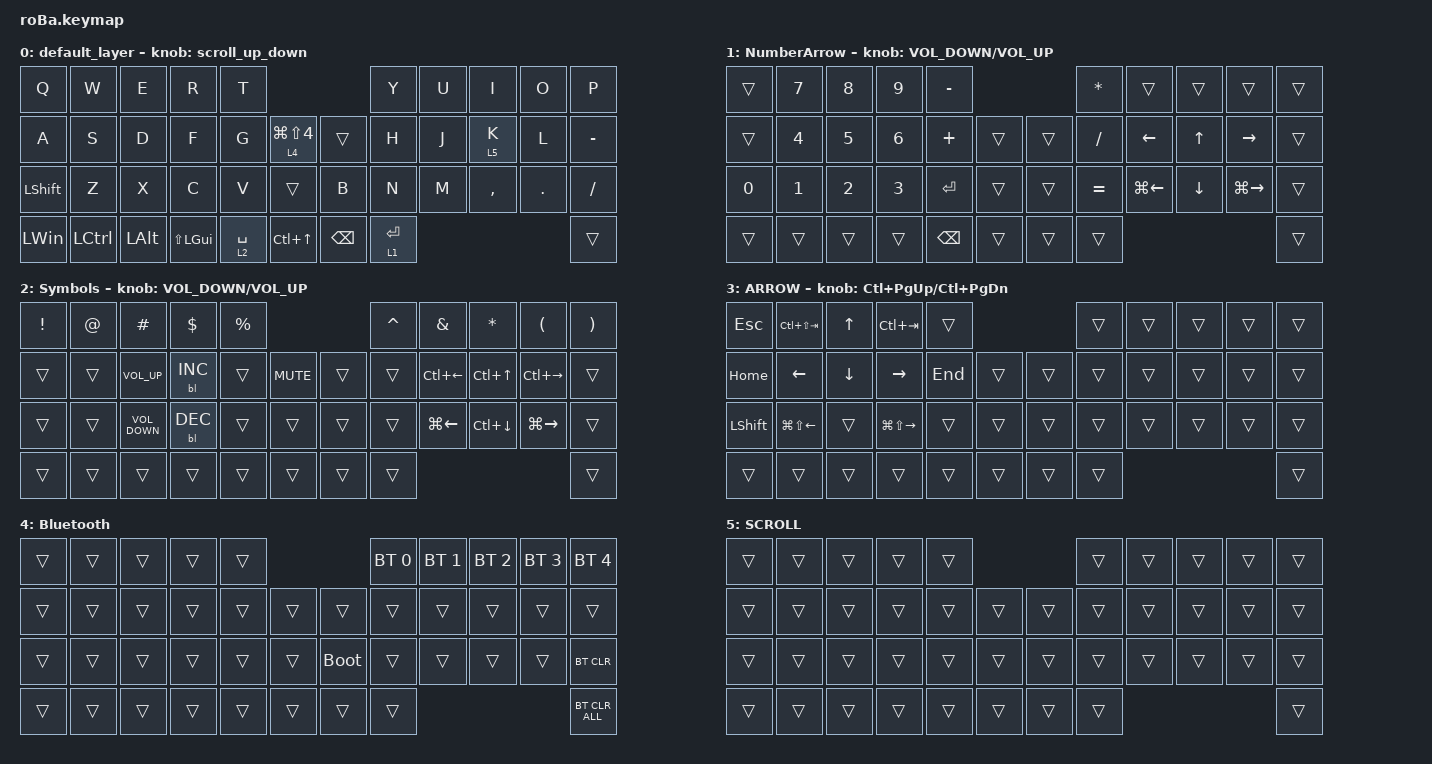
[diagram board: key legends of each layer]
#define ZMK_POINTING_DEFAULT_SCRL_VAL 100

#include <behaviors.dtsi>
#include <dt-bindings/zmk/backlight.h>
#include <dt-bindings/zmk/bt.h>
#include <dt-bindings/zmk/keys.h>
#include <dt-bindings/zmk/pointing.h>

&mt {
    flavor = "balanced";
    quick-tap-ms = <0>;
};

&trackball {
    // automouse-layer = <4>;

    scroll-layers = <5>;

    // arrows {
    //     layers = <3>;
    //     bindings =
    //         <&kp RIGHT_ARROW>,
    //         <&kp LEFT_ARROW>,
    //         <&kp UP_ARROW>,
    //         <&kp DOWN_ARROW>;
    //     tick = <10>;
    //     wait-ms = <5>;
    //     tap-ms = <5>;
    // };
};

/ {
    combos {
        compatible = "zmk,combos";

        kana {
            bindings = <&kp LANG1>;
            key-positions = <18 19>;
        };

        eisuu {
            bindings = <&kp LANG2>;
            key-positions = <13 12>;
        };

        left-click {
            bindings = <&mkp MB1>;
            key-positions = <30 31>;
        };

        right-click {
            bindings = <&mkp MB2>;
            key-positions = <31 32>;
        };

        left-normal {
            bindings = <&kp LEFT_PARENTHESIS>;
            key-positions = <13 14>;
        };

        right-normal {
            bindings = <&kp RIGHT_PARENTHESIS>;
            key-positions = <18 17>;
        };

        escape {
            bindings = <&kp ESCAPE>;
            key-positions = <0 10>;
        };

        at {
            bindings = <&kp AT_SIGN>;
            key-positions = <1 11>;
        };

        left-bracket {
            bindings = <&kp LEFT_BRACE>;
            key-positions = <2 3>;
        };

        right-bracket {
            bindings = <&kp RIGHT_BRACE>;
            key-positions = <6 7>;
        };

        left-brace {
            bindings = <&kp LEFT_BRACKET>;
            key-positions = <11 12>;
        };

        right-brace {
            bindings = <&kp RIGHT_BRACKET>;
            key-positions = <19 20>;
        };

        middle-click {
            bindings = <&mkp MB3>;
            key-positions = <32 33>;
        };

        tab {
            bindings = <&kp TAB>;
            key-positions = <10 11>;
        };

        apostrophe {
            bindings = <&kp SQT>;
            key-positions = <6 18>;
        };

        quote2 {
            bindings = <&kp DOUBLE_QUOTES>;
            key-positions = <18 30>;
        };

        semicolon {
            bindings = <&kp SEMICOLON>;
            key-positions = <5 17>;
        };

        colon {
            bindings = <&kp COLON>;
            key-positions = <17 29>;
        };

        backslash {
            bindings = <&kp BACKSLASH>;
            key-positions = <7 19>;
        };

        pipe {
            bindings = <&kp PIPE>;
            key-positions = <19 31>;
        };

        grave-accent {
            bindings = <&kp GRAVE>;
            key-positions = <3 13>;
        };

        tilde {
            bindings = <&kp TILDE>;
            key-positions = <13 25>;
        };

        equal {
            bindings = <&kp EQUAL>;
            key-positions = <4 14>;
        };

        plus {
            bindings = <&kp PLUS>;
            key-positions = <14 26>;
        };

        asterisk {
            bindings = <&kp ASTERISK>;
            key-positions = <8 20>;
        };

        slash {
            bindings = <&kp PERCENT>;
            key-positions = <32 20>;
        };
    };

    macros {
        to_layer_0: to_layer_0 {
            compatible = "zmk,behavior-macro-one-param";
            #binding-cells = <1>;
            bindings = <&to 0 &macro_param_1to1 &kp MACRO_PLACEHOLDER>;
            label = "TO_LAYER_0";
        };
    };

    behaviors {
        lt_to_layer_0: lt_to_layer_0 {
            compatible = "zmk,behavior-hold-tap";
            label = "LAYER_TAP_TO_0";
            bindings = <&mo>, <&to_layer_0>;

            #binding-cells = <2>;
            tapping-term-ms = <200>;
        };
        scroll_up_down: scroll_up_down {
            compatible = "zmk,behavior-sensor-rotate";
            #sensor-binding-cells = <0>;
            bindings = <&msc SCRL_DOWN>, <&msc SCRL_UP>;
            tap-ms = <25>;
        };
    };

    keymap {
        compatible = "zmk,keymap";

        default_layer {
            bindings = <
&kp Q           &kp W             &kp E         &kp R             &kp T                                                   &kp Y        &kp U  &kp I      &kp O    &kp P
&kp A           &kp S             &kp D         &kp F             &kp G        &lt 4 LG(LS(NUMBER_4))      &trans         &kp H        &kp J  &lt 5 K    &kp L    &kp MINUS
&kp LEFT_SHIFT  &kp Z             &kp X         &kp C             &kp V        &trans                      &kp B          &kp N        &kp M  &kp COMMA  &kp DOT  &kp SLASH
&kp LEFT_WIN    &kp LEFT_CONTROL  &kp LEFT_ALT  &kp LS(LEFT_GUI)  &lt 2 SPACE  &kp LC(UP_ARROW)            &kp BACKSPACE  &lt 1 ENTER                             &trans
            >;

            sensor-bindings = <&scroll_up_down>;
        };

        NumberArrow {
            bindings = <
&trans  &kp N7  &kp N8  &kp N9  &kp MINUS                          &kp ASTERISK  &trans        &trans    &trans         &trans
&trans  &kp N4  &kp N5  &kp N6  &kp PLUS       &trans      &trans  &kp SLASH     &kp LEFT      &kp UP    &kp RIGHT      &trans
&kp N0  &kp N1  &kp N2  &kp N3  &kp ENTER      &trans      &trans  &kp EQUAL     &kp LG(LEFT)  &kp DOWN  &kp LG(RIGHT)  &trans
&trans  &trans  &trans  &trans  &kp BACKSPACE  &trans      &trans  &trans                                               &trans
            >;

            sensor-bindings = <&inc_dec_kp C_VOLUME_DOWN C_VOLUME_UP>;
        };

        Symbols {
            bindings = <
&kp EXCLAMATION  &kp AT_SIGN  &kp HASH           &kp DOLLAR  &kp PERCENT                          &kp CARET  &kp AMPERSAND  &kp ASTERISK      &kp LEFT_PARENTHESIS  &kp RIGHT_PARENTHESIS
&trans           &trans       &kp C_VOLUME_UP    &bl BL_INC  &trans       &kp C_MUTE      &trans  &trans     &kp LC(LEFT)   &kp LC(UP_ARROW)  &kp LC(RIGHT)         &trans
&trans           &trans       &kp C_VOLUME_DOWN  &bl BL_DEC  &trans       &trans          &trans  &trans     &kp LG(LEFT)   &kp LC(DOWN)      &kp LG(RIGHT)         &trans
&trans           &trans       &trans             &trans      &trans       &trans          &trans  &trans                                                            &trans
            >;

            sensor-bindings = <&inc_dec_kp C_VOLUME_DOWN C_VOLUME_UP>;
        };

        ARROW {
            bindings = <
&kp ESCAPE      &kp LC(LS(TAB))         &kp UP_ARROW    &kp LC(TAB)              &trans                       &trans  &trans  &trans  &trans  &trans
&kp HOME        &kp LEFT_ARROW          &kp DOWN_ARROW  &kp RIGHT_ARROW          &kp END  &trans      &trans  &trans  &trans  &trans  &trans  &trans
&kp LEFT_SHIFT  &kp LG(LS(LEFT_ARROW))  &trans          &kp LG(LS(RIGHT_ARROW))  &trans   &trans      &trans  &trans  &trans  &trans  &trans  &trans
&trans          &trans                  &trans          &trans                   &trans   &trans      &trans  &trans                          &trans
            >;

            sensor-bindings = <&inc_dec_kp LC(PAGE_UP) LC(PAGE_DOWN)>;
        };

        Bluetooth {
            bindings = <
&trans  &trans  &trans  &trans  &trans                           &bt BT_SEL 0  &bt BT_SEL 1  &bt BT_SEL 2  &bt BT_SEL 3  &bt BT_SEL 4
&trans  &trans  &trans  &trans  &trans  &trans      &trans       &trans        &trans        &trans        &trans        &trans
&trans  &trans  &trans  &trans  &trans  &trans      &bootloader  &trans        &trans        &trans        &trans        &bt BT_CLR
&trans  &trans  &trans  &trans  &trans  &trans      &trans       &trans                                                  &bt BT_CLR_ALL
            >;
        };

        SCROLL {
            bindings = <
&trans  &trans  &trans  &trans  &trans                      &trans  &trans  &trans  &trans  &trans
&trans  &trans  &trans  &trans  &trans  &trans      &trans  &trans  &trans  &trans  &trans  &trans
&trans  &trans  &trans  &trans  &trans  &trans      &trans  &trans  &trans  &trans  &trans  &trans
&trans  &trans  &trans  &trans  &trans  &trans      &trans  &trans                          &trans
            >;
        };
    };
};
